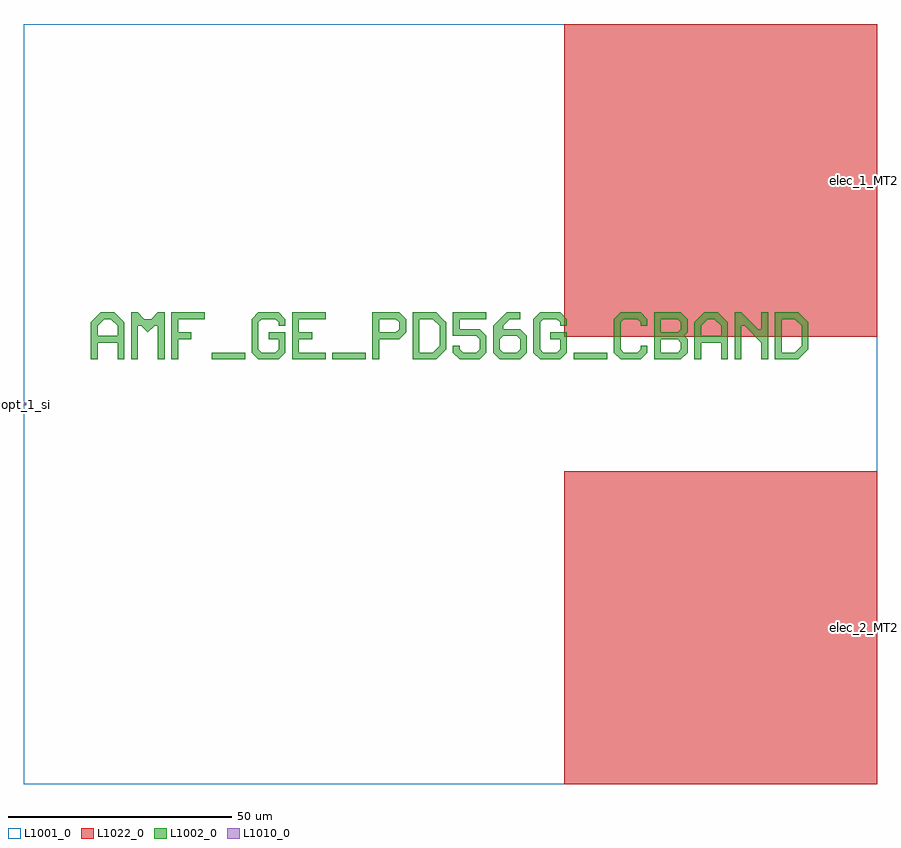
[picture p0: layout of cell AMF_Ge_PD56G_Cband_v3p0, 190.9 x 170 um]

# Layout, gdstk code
import gdstk
lib = gdstk.Library(unit=1e-6, precision=1e-09)
def R(c, l, rs):  # rectangles x0, y0, x1, y1
    for r in rs: c.add(gdstk.rectangle(r[:2], r[2:], *l))
def P(c, l, *ps):  # polygons
    for p in ps: c.add(gdstk.Polygon(p, *l))
L1001_0 = (1001, 0)
L1002_0 = (1002, 0)
L1010_0 = (1010, 0)
L1022_0 = (1022, 0)

amf_ge_pd56g_cband_v3p0 = lib.new_cell('AMF_Ge_PD56G_Cband_v3p0')
R(amf_ge_pd56g_cband_v3p0, L1001_0, [(0,-85,190.9,85)])
R(amf_ge_pd56g_cband_v3p0, L1002_0, [(42,10,49.5,11.5), (69,10,76.5,11.5), (123,10,130.5,11.5)])
P(amf_ge_pd56g_cband_v3p0, L1002_0, [(15,10),(15,18.25),(17.25,20.5),(20.25,20.5),(21.75,19),(18,19),(16.5,17.5),(16.5,15.25),(21,15.25),(21,17.5),(19.5,19),(21.75,19),(22.5,18.25),(22.5,10),(21,10),(21,13.75),(16.5,13.75),(16.5,10)],
  [(24,10),(24,20.5),(25.5,20.5),(27,19),(28.5,19),(30,20.5),(31.5,20.5),(31.5,10),(30,10),(30,17.5),(29.25,17.5),(27.75,16),(26.25,17.5),(25.5,17.5),(25.5,10)],
  [(33,10),(33,20.5),(40.5,20.5),(40.5,19),(34.5,19),(34.5,16),(37.5,16),(37.5,14.5),(34.5,14.5),(34.5,10)],
  [(52.5,10),(51,11.5),(51,19),(52.5,20.5),(57,20.5),(58.5,19),(58.5,17.5),(57,17.5),(57,18.25),(56.25,19),(53.25,19),(52.5,18.25),(52.5,12.25),(53.25,11.5),(56.25,11.5),(57,12.25),(57,14.5),(54.75,14.5),(54.75,16),(58.5,16),(58.5,11.5),(57,10)],
  [(60,10),(60,20.5),(67.5,20.5),(67.5,19),(61.5,19),(61.5,16),(64.5,16),(64.5,14.5),(61.5,14.5),(61.5,11.5),(67.5,11.5),(67.5,10)],
  [(78,10),(78,20.5),(84,20.5),(85.5,19),(85.5,16),(84,14.5),(79.5,14.5),(79.5,16),(83.25,16),(84,16.75),(84,18.25),(83.25,19),(79.5,19),(79.5,10)],
  [(87,10),(87,20.5),(92.25,20.5),(93.75,19),(88.5,19),(88.5,11.5),(91.5,11.5),(93,13),(93,17.5),(91.5,19),(93.75,19),(94.5,18.25),(94.5,12.25),(92.25,10)],
  [(97.5,10),(96,11.5),(96,13),(97.5,13),(97.5,12.25),(98.25,11.5),(101.25,11.5),(102,12.25),(102,14.5),(101.25,15.25),(96,15.25),(96,20.5),(103.5,20.5),(103.5,19),(97.5,19),(97.5,16.75),(102,16.75),(103.5,15.25),(103.5,11.5),(102,10)],
  [(106.5,10),(105,11.5),(105,17.5),(108,20.5),(111,20.5),(111,19),(108.75,19),(107.25,17.5),(107.25,16.75),(111,16.75),(112.5,15.25),(107.25,15.25),(106.5,14.5),(106.5,12.25),(107.25,11.5),(110.25,11.5),(111,12.25),(111,14.5),(110.25,15.25),(112.5,15.25),(112.5,11.5),(111,10)],
  [(115.5,10),(114,11.5),(114,19),(115.5,20.5),(120,20.5),(121.5,19),(121.5,17.5),(120,17.5),(120,18.25),(119.25,19),(116.25,19),(115.5,18.25),(115.5,12.25),(116.25,11.5),(119.25,11.5),(120,12.25),(120,14.5),(117.75,14.5),(117.75,16),(121.5,16),(121.5,11.5),(120,10)],
  [(133.5,10),(132,11.5),(132,19),(133.5,20.5),(138,20.5),(139.5,19),(139.5,17.5),(138,17.5),(138,18.25),(137.25,19),(134.25,19),(133.5,18.25),(133.5,12.25),(134.25,11.5),(137.25,11.5),(138,12.25),(138,13),(139.5,13),(139.5,11.5),(138,10)],
  [(141,10),(141,20.5),(147,20.5),(148.5,19),(142.5,19),(142.5,16),(146.25,16),(147,16.75),(147,18.25),(146.25,19),(148.5,19),(148.5,16),(147.75,15.25),(148.5,14.5),(142.5,14.5),(142.5,11.5),(146.25,11.5),(147,12.25),(147,13.75),(146.25,14.5),(148.5,14.5),(148.5,11.5),(147,10)],
  [(150,10),(150,18.25),(152.25,20.5),(155.25,20.5),(156.75,19),(153,19),(151.5,17.5),(151.5,15.25),(156,15.25),(156,17.5),(154.5,19),(156.75,19),(157.5,18.25),(157.5,10),(156,10),(156,13.75),(151.5,13.75),(151.5,10)],
  [(159,10),(159,20.5),(160.5,20.5),(164.25,16.75),(165,16.75),(165,20.5),(166.5,20.5),(166.5,10),(165,10),(165,13.75),(161.25,17.5),(160.5,17.5),(160.5,10)],
  [(168,10),(168,20.5),(173.25,20.5),(174.75,19),(169.5,19),(169.5,11.5),(172.5,11.5),(174,13),(174,17.5),(172.5,19),(174.75,19),(175.5,18.25),(175.5,12.25),(173.25,10)])
R(amf_ge_pd56g_cband_v3p0, L1010_0, [(0,-0.25,0.5,0.25)])
R(amf_ge_pd56g_cband_v3p0, L1022_0, [(120.9,-85,190.9,-15), (120.9,15,190.9,85)])
amf_ge_pd56g_cband_v3p0.add(gdstk.Label('opt_1_si', (0,0), layer=1010, texttype=0))
amf_ge_pd56g_cband_v3p0.add(gdstk.Label('elec_1_MT2', (190.9,50), layer=1022, texttype=0))
amf_ge_pd56g_cband_v3p0.add(gdstk.Label('elec_2_MT2', (190.9,-50), layer=1022, texttype=0))

lib.write_gds('AMF_Ge_PD56G_Cband_v3p0.gds')
